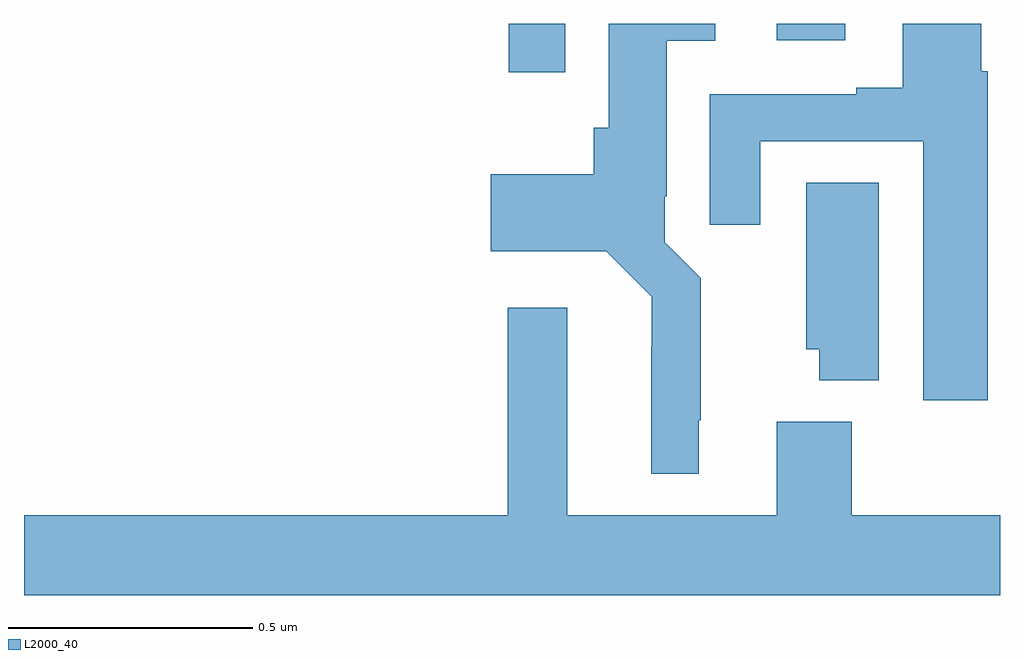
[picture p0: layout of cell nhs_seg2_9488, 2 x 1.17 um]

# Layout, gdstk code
import gdstk
lib = gdstk.Library(unit=1e-6, precision=1e-09)
def R(c, l, rs):  # rectangles x0, y0, x1, y1
    for r in rs: c.add(gdstk.rectangle(r[:2], r[2:], *l))
def P(c, l, *ps):  # polygons
    for p in ps: c.add(gdstk.Polygon(p, *l))
L2000_40 = (2000, 40)

nhs_seg2_9488 = lib.new_cell('nhs_seg2_9488')
R(nhs_seg2_9488, L2000_40, [(229.993,656.7,230.109,656.8), (230.543,656.766,230.683,656.8)])
P(nhs_seg2_9488, L2000_40, [(230.975,656.702),(230.962,656.702),(230.962,656.8),(230.801,656.8),(230.801,656.668),(230.705,656.668),(230.705,656.655),(230.405,656.655),(230.405,656.388),(230.509,656.388),(230.509,656.559),(230.843,656.559),(230.843,656.028),(230.975,656.028)],
  [(230.383,655.987),(230.387,655.987),(230.387,656.278),(230.313,656.352),(230.313,656.446),(230.317,656.446),(230.317,656.765),(230.416,656.765),(230.416,656.8),(230.198,656.8),(230.198,656.586),(230.168,656.586),(230.168,656.491),(229.956,656.491),(229.956,656.333),(230.193,656.333),(230.286,656.24),(230.286,656.138),(230.285,656.138),(230.285,655.877),(230.383,655.877)],
  [(230.752,656.474),(230.603,656.474),(230.603,656.133),(230.63,656.133),(230.63,656.069),(230.752,656.069)],
  [(231,655.792),(230.696,655.792),(230.696,655.984),(230.543,655.984),(230.543,655.792),(230.113,655.792),(230.113,656.218),(229.991,656.218),(229.991,655.792),(229,655.792),(229,655.628),(231,655.628)])

lib.write_gds('nhs_seg2_9488.gds')
